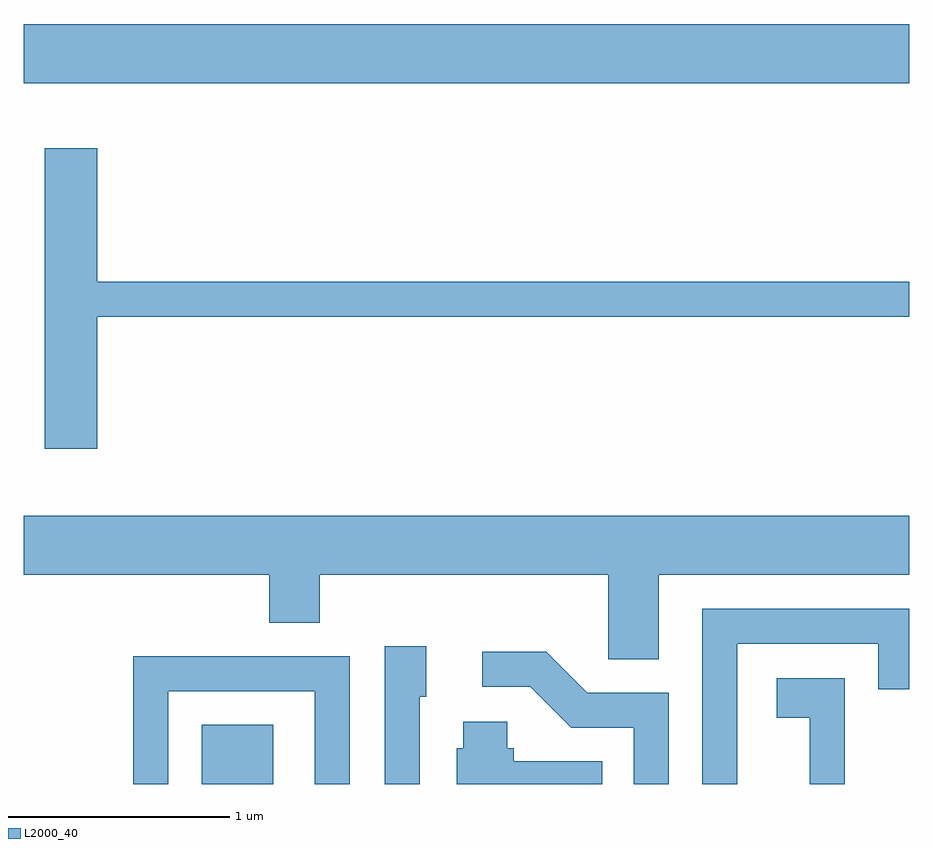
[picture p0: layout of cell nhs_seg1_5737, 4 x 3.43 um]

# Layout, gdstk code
import gdstk
lib = gdstk.Library(unit=1e-6, precision=1e-09)
def R(c, l, rs):  # rectangles x0, y0, x1, y1
    for r in rs: c.add(gdstk.rectangle(r[:2], r[2:], *l))
def P(c, l, *ps):  # polygons
    for p in ps: c.add(gdstk.Polygon(p, *l))
L2000_40 = (2000, 40)

nhs_seg1_5737 = lib.new_cell('nhs_seg1_5737')
R(nhs_seg1_5737, L2000_40, [(358.416,929.712,358.739,929.979), (357.611,932.876,361.611,933.144)])
P(nhs_seg1_5737, L2000_40, [(357.944,931.821),(361.611,931.821),(361.611,931.979),(357.944,931.979),(357.944,932.584),(357.706,932.584),(357.706,931.226),(357.944,931.226)],
  [(360.479,930.656),(361.611,930.656),(361.611,930.924),(357.611,930.924),(357.611,930.656),(358.721,930.656),(358.721,930.441),(358.949,930.441),(358.949,930.656),(360.251,930.656),(360.251,930.276),(360.479,930.276)],
  [(360.834,930.346),(361.471,930.346),(361.471,930.141),(361.611,930.141),(361.611,930.504),(360.676,930.504),(360.676,929.712),(360.834,929.712)],
  [(359.399,930.106),(359.429,930.106),(359.429,930.334),(359.241,930.334),(359.241,929.712),(359.399,929.712)],
  [(360.524,930.124),(360.157,930.124),(359.972,930.309),(359.683,930.309),(359.683,930.151),(359.899,930.151),(360.084,929.966),(360.366,929.966),(360.366,929.712),(360.524,929.712)],
  [(358.264,930.131),(358.926,930.131),(358.926,929.712),(359.084,929.712),(359.084,930.289),(358.106,930.289),(358.106,929.712),(358.264,929.712)],
  [(361.319,930.189),(361.011,930.189),(361.011,930.011),(361.161,930.011),(361.161,929.712),(361.319,929.712)],
  [(360.223,929.814),(359.824,929.814),(359.824,929.874),(359.794,929.874),(359.794,929.994),(359.596,929.994),(359.596,929.874),(359.566,929.874),(359.566,929.712),(360.223,929.712)])

lib.write_gds('nhs_seg1_5737.gds')
